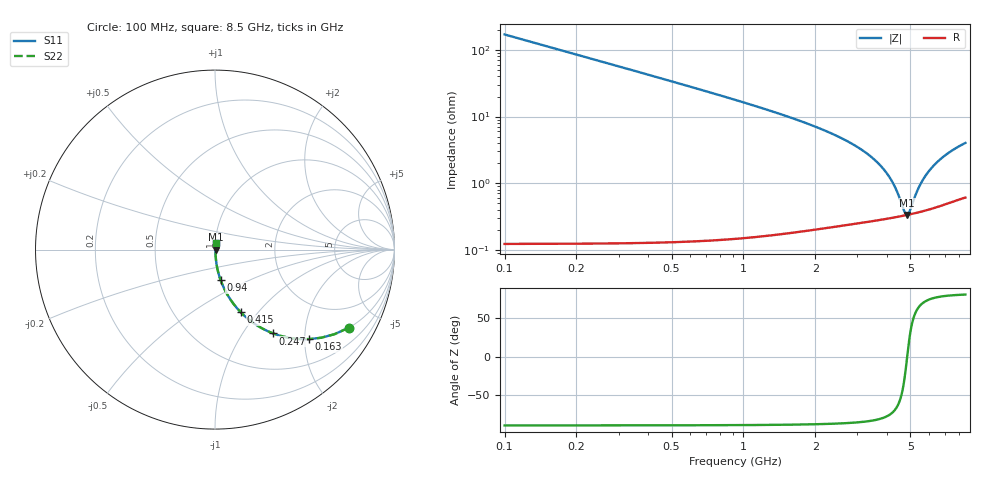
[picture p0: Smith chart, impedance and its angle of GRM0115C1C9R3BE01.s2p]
!Murata Part Number: GRM0115C1C9R3BE01
!These Parameters are Measured in Series Mode Connection
!Data Generated on Mar 30, 2021
!  o--ll--o
!Port1  Port2
!  o------o
!Operation Temp=25[degC], DC Bias Voltage=0[V]
!Freq. Start=100[MHz] Stop=9[GHz] 401[Steps]
# Hz S RI R 50
!Freq.(Hz) S11(Real) S11(Imag) S21(Real) S21(Imag) S12(Real) S12(Imag) S22(Real) S22(Imag)
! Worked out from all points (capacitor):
!   401 points, 100 MHz to 8.5 GHz, reference 50 ohm
!   read as one part in series: C = 9.3 pF near 142 MHz
!   lowest |Z| = 332 mohm at 4.846 GHz (marker M1)
!   series resonance near 4.848 GHz, so ESL is about 120 pH
!   S11 on the Smith chart (normalised r, x): 100 MHz: 1.00, -3.42; 163 MHz: 1.00, -2.10; 247 MHz: 1.00, -1.38; 415 MHz: 1.00, -0.82; 940 MHz: 1.00, -0.35; 8.5 GHz: 1.01, +0.08
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1e8  0.7451 -0.4354  0.2549 0.4354  0.2549 0.4354  0.7451 -0.4354
1.63e8  0.5237 -0.4989  0.4763 0.4989  0.4763 0.4989  0.5237 -0.4989
2.47e8  0.3234 -0.4669  0.6766 0.4669  0.6766 0.4669  0.3234 -0.4669
3.31e8  0.2098 -0.406  0.7902 0.406  0.7902 0.406  0.2098 -0.406
4.15e8  0.1442 -0.3497  0.8558 0.3497  0.8558 0.3497  0.1442 -0.3497
6.25e8  0.0685 -0.2502  0.9315 0.2502  0.9315 0.2502  0.0685 -0.2502
9.4e8  0.031 -0.1691  0.969 0.1691  0.969 0.1691  0.031 -0.1691
1.507e9  0.012 -0.1007  0.988 0.1007  0.988 0.1007  0.012 -0.1007
2.914e9  0.00379 -0.0369  0.9962 0.0369  0.9962 0.0369  0.00379 -0.0369
3.376e9  0.00329 -0.0256  0.9967 0.0256  0.9967 0.0256  0.00329 -0.0256
3.754e9  0.00312 -0.0179  0.9969 0.0179  0.9969 0.0179  0.00312 -0.0179
4.048e9  0.00309 -0.0126  0.9969 0.0126  0.9969 0.0126  0.00309 -0.0126
4.3e9  0.00311 -0.00832  0.9969 0.00832  0.9969 0.00832  0.00311 -0.00832
4.72e9  0.00325 -0.00185  0.9967 0.00185  0.9967 0.00185  0.00325 -0.00185
4.783e9  0.00328 -0.000935  0.9967 0.000935  0.9967 0.000935  0.00328 -0.000935
4.846e9  0.00331 -3.12e-05  0.9967 3.12e-05  0.9967 3.12e-05  0.00331 -3.12e-05
4.951e9  0.00337 0.00145  0.9966 -0.00145  0.9966 -0.00145  0.00337 0.00145
5.371e9  0.00365 0.00706  0.9963 -0.00706  0.9963 -0.00706  0.00365 0.00706
5.707e9  0.00394 0.0113  0.9961 -0.0113  0.9961 -0.0113  0.00394 0.0113
6.316e9  0.00456 0.0183  0.9954 -0.0183  0.9954 -0.0183  0.00456 0.0183
7.114e9  0.00558 0.0266  0.9944 -0.0266  0.9944 -0.0266  0.00558 0.0266
8.5e9  0.00758 0.0392  0.9924 -0.0392  0.9924 -0.0392  0.00758 0.0392
